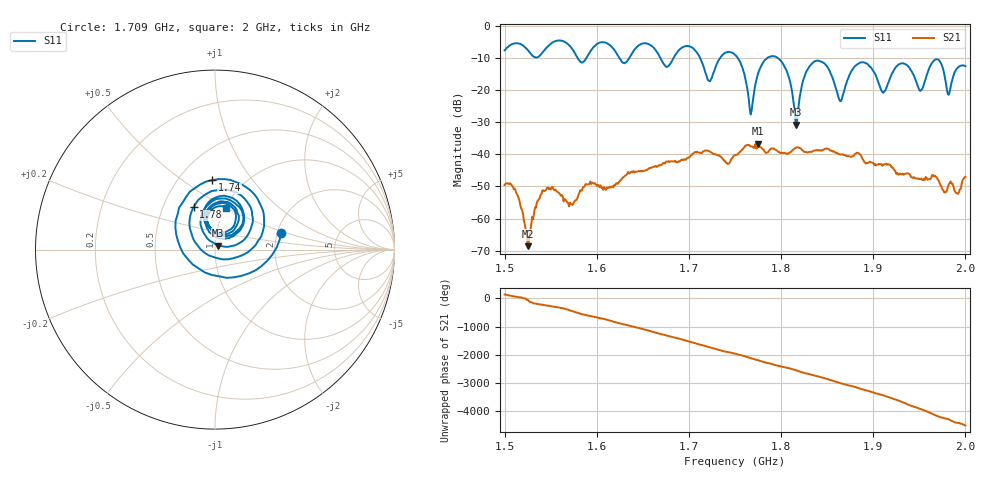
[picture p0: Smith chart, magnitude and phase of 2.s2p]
! NanoVNA-App by SYSJOINT et al v1.1.209 (+OD18)
! Date: 2026-01-21 14:25:55
! Start: 1,5GHz Stop: 2GHz Points: 501
! S-Parameter data: F S11 S21 S12 S22
# Hz S RI R 50
!  Frequency  S11_Real  S11_Imag  S21_Real  S21_Imag  S12_Real  S12_Imag  S22_Real  S22_Imag
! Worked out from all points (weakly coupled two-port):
!   501 points, 1.5 GHz to 2 GHz, reference 50 ohm
!   highest |S21| = -36.63 dB at 1.775 GHz (marker M1); lowest = -68.6 dB at 1.525 GHz (marker M2)
!   lowest |S11| = -30.8 dB at 1.816 GHz (marker M3), VSWR 1.06, Z = 51.8 + j2.34 ohm
!   |S11| at or under -10 dB: 1.712 GHz to 1.734 GHz (21.55 MHz wide, 1.25 % of centre); 1.753 GHz to 1.785 GHz (31.56 MHz wide, 1.78 % of centre); 1.797 GHz to end of sweep (the widest 3 of 6)
!   S12 and S22 are empty: the file has one direction only
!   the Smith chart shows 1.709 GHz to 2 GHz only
!   S11 on the Smith chart (normalised r, x): 1.709 GHz: 2.10, +0.46; 1.74 GHz: 0.72, +0.65; 1.78 GHz: 0.71, +0.36; 2 GHz: 1.01, +0.49
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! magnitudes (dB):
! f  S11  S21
! 1.5 GHz  -7.5  -49.5
! 1.525 GHz  -7.4  -68.6
! 1.543 GHz  -7.6  -51.4
! 1.584 GHz  -11.4  -51.2
! 1.667 GHz  -8.8  -43.6
! 1.709 GHz  -8.4  -39.2
! 1.722 GHz  -17.1  -39.0
! 1.74 GHz  -8.2  -42.6
! 1.75 GHz  -8.9  -40.2
! 1.767 GHz  -27.5  -37.5
! 1.775 GHz  -14.8  -36.6
! 1.78 GHz  -11.6  -38.3
! 1.802 GHz  -11.7  -39.6
! 1.816 GHz  -30.8  -38.0
! 1.834 GHz  -11.6  -39.0
! 1.864 GHz  -23.4  -40.0
! 1.886 GHz  -11.3  -40.1
! 1.917 GHz  -17.3  -43.1
! 1.952 GHz  -20.0  -47.5
! 1.969 GHz  -10.3  -47.2
! 1.982 GHz  -21.4  -49.3
! 2 GHz  -12.5  -47.0
